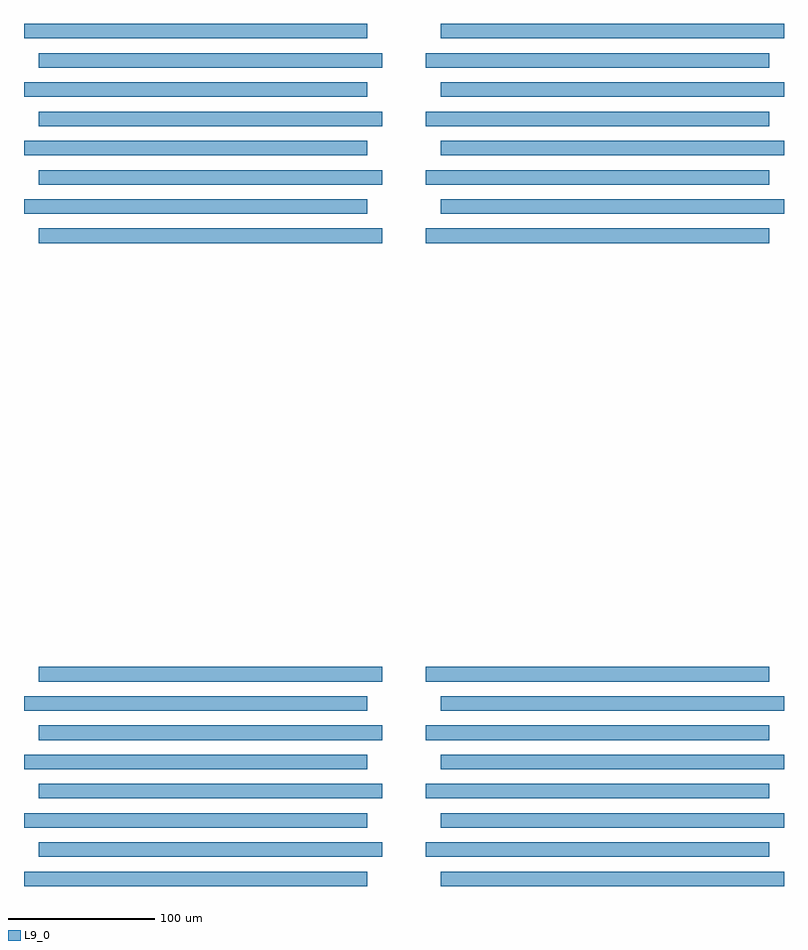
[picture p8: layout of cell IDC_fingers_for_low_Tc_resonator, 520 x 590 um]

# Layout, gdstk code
import gdstk
lib = gdstk.Library(unit=1e-6, precision=1e-09)
def R(c, l, rs):  # rectangles x0, y0, x1, y1
    for r in rs: c.add(gdstk.rectangle(r[:2], r[2:], *l))
def A(c, l, x, y, w, h, nx, ny, dx, dy):  # array of equal rectangles
    R(c, l, [(x+i*dx, y+j*dy, x+i*dx+w, y+j*dy+h) for i in range(nx) for j in range(ny)])
L9_0 = (9, 0)

idc_fingers_for_low_tc_r = lib.new_cell('IDC_fingers_for_low_Tc_resonator')
A(idc_fingers_for_low_tc_r, L9_0, -5510, 185, 235, 10, 1, 4, 0, 40)
A(idc_fingers_for_low_tc_r, L9_0, -5225, 185, 235, 10, 1, 4, 0, 40)
A(idc_fingers_for_low_tc_r, L9_0, -5500, 205, 235, 10, 1, 4, 0, 40)
A(idc_fingers_for_low_tc_r, L9_0, -5235, 205, 235, 10, 1, 4, 0, 40)
A(idc_fingers_for_low_tc_r, L9_0, -5500, 625, 235, 10, 1, 4, 0, 40)
A(idc_fingers_for_low_tc_r, L9_0, -5235, 625, 235, 10, 1, 4, 0, 40)
A(idc_fingers_for_low_tc_r, L9_0, -5510, 645, 235, 10, 1, 4, 0, 40)
A(idc_fingers_for_low_tc_r, L9_0, -5225, 645, 235, 10, 1, 4, 0, 40)

lib.write_gds('IDC_fingers_for_low_Tc_resonator.gds')
